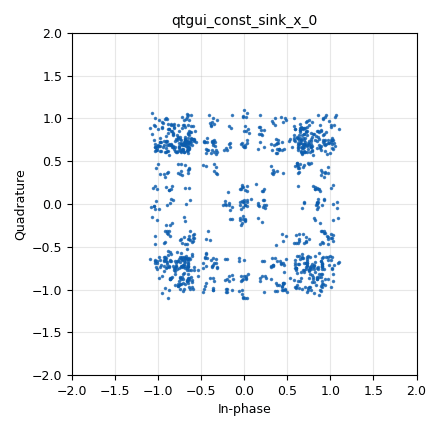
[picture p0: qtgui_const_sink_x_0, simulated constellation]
options:
  parameters:
    generate_options: qt_gui
    id: mod_demod
    output_language: python
    title: mod-demod
  states: {}

blocks:
- name: samp_rate
  id: variable
  parameters:
    value: '32000'
  states: {}
- name: variable_constellation_0
  id: variable_constellation
  parameters:
    const_points: '[-1-1j, -1+1j, 1+1j, 1-1j]'
    dims: '1'
    precision: '8'
    rot_sym: '4'
    sym_map: '[0, 1, 3, 2]'
    type: calcdist
  states: {}
- name: analog_random_source_x_0
  id: analog_random_source_x
  parameters:
    max: '256'
    min: '0'
    num_samps: '100'
    repeat: 'True'
    type: byte
  states: {}
- name: blocks_file_sink_0
  id: blocks_file_sink
  parameters:
    file: /home/tec-est/out.txt
    type: byte
  states: {}
- name: blocks_file_sink_1
  id: blocks_file_sink
  parameters:
    file: /home/tec-est/in.txt
    type: byte
  states: {}
- name: blocks_throttle_0
  id: blocks_throttle
  parameters:
    samples_per_second: samp_rate
    type: complex
  states: {}
- name: blocks_unpack_k_bits_bb_2_0
  id: blocks_unpack_k_bits_bb
  parameters:
    k: '2'
  states: {}
- name: blocks_unpack_k_bits_bb_2_0_0
  id: blocks_unpack_k_bits_bb
  parameters:
    k: '2'
  states: {}
- name: digital_constellation_modulator_0
  id: digital_constellation_modulator
  parameters:
    constellation: variable_constellation_0
    differential: 'False'
    excess_bw: '0.35'
    samples_per_symbol: '4'
  states: {}
- name: digital_constellation_receiver_cb_0
  id: digital_constellation_receiver_cb
  parameters:
    constellation: variable_constellation_0
    fmax: '10000'
    fmin: '-10000'
    loop_bw: '1'
  states: {}
- name: qtgui_const_sink_x_0
  id: qtgui_const_sink_x
  parameters:
    size: '1024'
    type: complex
  states: {}

connections:
- [analog_random_source_x_0, '0', blocks_unpack_k_bits_bb_2_0, '0']
- [analog_random_source_x_0, '0', digital_constellation_modulator_0, '0']
- [blocks_throttle_0, '0', digital_constellation_receiver_cb_0, '0']
- [blocks_unpack_k_bits_bb_2_0, '0', blocks_file_sink_1, '0']
- [blocks_unpack_k_bits_bb_2_0_0, '0', blocks_file_sink_0, '0']
- [digital_constellation_modulator_0, '0', blocks_throttle_0, '0']
- [digital_constellation_modulator_0, '0', qtgui_const_sink_x_0, '0']
- [digital_constellation_receiver_cb_0, '0', blocks_unpack_k_bits_bb_2_0_0, '0']

metadata:
  file_format: 1
